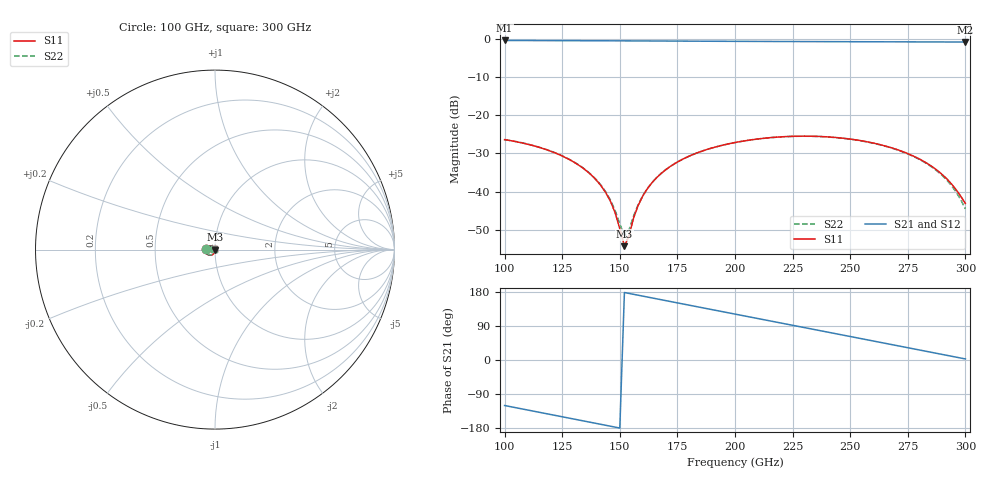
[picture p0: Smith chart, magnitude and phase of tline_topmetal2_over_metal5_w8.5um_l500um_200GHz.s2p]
#  GHZ S DB R 50
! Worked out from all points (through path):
!   101 points, 100 GHz to 300 GHz, reference 50 ohm
!   highest |S21| = -0.47 dB at 100 GHz (marker M1); lowest = -0.9 dB at 300 GHz (marker M2)
!   group delay of S21, straight-line fit = 3.29 ps
!   lowest |S11| = -54.3 dB at 152 GHz (marker M3), VSWR 1.00, Z = 49.8 - j0.0125 ohm
!   |S11| at or under -10 dB: start of sweep to end of sweep
!   |S22| runs from -51.6 to -25.5 dB; largest |S21 - S12| = 1.6e-13
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100  -26.42 175.8  -0.47 -120.1  -0.47 -120.1  -26.40 176.2
120  -29.44 150.2  -0.51 -143.9  -0.51 -143.9  -29.41 151.1
134  -33.86 134.1  -0.54 -160.5  -0.54 -160.5  -33.79 135.8
140  -37.14 128.8  -0.55 -167.7  -0.55 -167.7  -37.01 131.4
146  -42.63 128.1  -0.57 -174.8  -0.57 -174.8  -42.29 132.8
148  -45.59 131.8  -0.57 -177.2  -0.57 -177.2  -45.01 138.0
152  -54.28 -176.3  -0.58 178.1  -0.58 178.1  -51.55 -175.0
154  -51.53 -122.5  -0.58 175.7  -0.58 175.7  -50.02 -132.8
156  -46.90 -104.3  -0.59 173.3  -0.59 173.3  -46.37 -112.6
160  -41.14 -97.1  -0.60 168.5  -0.60 168.5  -41.02 -102.0
164  -37.66 -98.0  -0.61 163.8  -0.61 163.8  -37.63 -101.4
168  -35.23 -101.0  -0.62 159.0  -0.62 159.0  -35.22 -103.7
182  -30.25 -115.5  -0.66 142.4  -0.66 142.4  -30.25 -117.1
200  -27.17 -135.2  -0.70 121.1  -0.70 121.1  -27.18 -136.5
218  -25.77 -154.9  -0.74 99.9  -0.74 99.9  -25.78 -156.1
234  -25.53 -172.6  -0.77 80.9  -0.77 80.9  -25.56 -174.0
250  -26.27 169.7  -0.80 62.0  -0.80 62.0  -26.31 168.1
268  -28.56 150.7  -0.83 40.7  -0.83 40.7  -28.63 148.6
280  -31.47 140.0  -0.85 26.5  -0.85 26.5  -31.58 136.9
288  -34.56 135.6  -0.86 17.0  -0.86 17.0  -34.76 131.3
294  -38.02 137.0  -0.87 9.9  -0.87 9.9  -38.46 130.9
300  -43.11 154.0  -0.88 2.8  -0.88 2.8  -44.52 145.6
